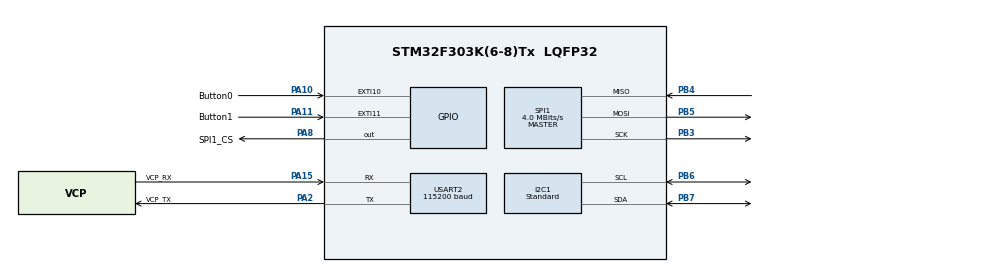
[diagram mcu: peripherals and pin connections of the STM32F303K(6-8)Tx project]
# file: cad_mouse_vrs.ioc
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Dma.I2C1_TX.1.Direction=DMA_MEMORY_TO_PERIPH
Dma.I2C1_TX.1.Instance=DMA1_Channel2
Dma.I2C1_TX.1.MemDataAlignment=DMA_MDATAALIGN_BYTE
Dma.I2C1_TX.1.MemInc=DMA_MINC_ENABLE
Dma.I2C1_TX.1.Mode=DMA_NORMAL
Dma.I2C1_TX.1.PeriphDataAlignment=DMA_PDATAALIGN_BYTE
Dma.I2C1_TX.1.PeriphInc=DMA_PINC_DISABLE
Dma.I2C1_TX.1.Priority=DMA_PRIORITY_LOW
Dma.Request0=USART2_RX
Dma.Request1=I2C1_TX
Dma.Request2=USART2_TX
Dma.USART2_RX.0.Direction=DMA_PERIPH_TO_MEMORY
Dma.USART2_RX.0.Instance=DMA1_Channel6
Dma.USART2_RX.0.MemDataAlignment=DMA_MDATAALIGN_BYTE
Dma.USART2_RX.0.MemInc=DMA_MINC_ENABLE
Dma.USART2_RX.0.Mode=DMA_CIRCULAR
Dma.USART2_RX.0.PeriphDataAlignment=DMA_PDATAALIGN_BYTE
Dma.USART2_RX.0.PeriphInc=DMA_PINC_DISABLE
Dma.USART2_RX.0.Priority=DMA_PRIORITY_LOW
Dma.USART2_TX.2.Direction=DMA_MEMORY_TO_PERIPH
Dma.USART2_TX.2.Instance=DMA1_Channel7
Dma.USART2_TX.2.MemDataAlignment=DMA_MDATAALIGN_BYTE
Dma.USART2_TX.2.MemInc=DMA_MINC_ENABLE
Dma.USART2_TX.2.Mode=DMA_NORMAL
Dma.USART2_TX.2.PeriphDataAlignment=DMA_PDATAALIGN_BYTE
Dma.USART2_TX.2.PeriphInc=DMA_PINC_DISABLE
Dma.USART2_TX.2.Priority=DMA_PRIORITY_LOW
I2C1.I2C_Speed_Mode=I2C_Standard
I2C1.Speed=100
Mcu.Family=STM32F3
Mcu.Name=STM32F303K(6-8)Tx
Mcu.Package=LQFP32
NVIC.DMA1_Channel2_IRQn=true\:0\:0\:false\:false\:true\:false\:true\:true
NVIC.DMA1_Channel6_IRQn=true\:0\:0\:false\:false\:true\:false\:true\:true
NVIC.DMA1_Channel7_IRQn=true\:0\:0\:false\:false\:true\:false\:true\:true
NVIC.EXTI15_10_IRQn=true\:0\:0\:false\:false\:true\:true\:true\:true
NVIC.I2C1_EV_IRQn=true\:0\:0\:false\:false\:true\:true\:true\:true
NVIC.PriorityGroup=NVIC_PRIORITYGROUP_4
NVIC.TIM1_BRK_TIM15_IRQn=true\:0\:0\:false\:false\:true\:true\:true\:true
PA10.GPIO_Label=Button0
PA10.GPIO_ModeDefaultEXTI=GPIO_MODE_IT_FALLING
PA10.GPIO_PuPd=GPIO_PULLUP
PA10.Signal=GPXTI10
PA11.GPIO_Label=Button1
PA11.GPIO_ModeDefaultEXTI=GPIO_MODE_IT_FALLING
PA11.GPIO_PuPd=GPIO_PULLUP
PA11.Signal=GPXTI11
PA13.GPIO_Label=SWDIO
PA13.Mode=Serial_Wire
PA13.Signal=SYS_JTMS-SWDIO
PA14.GPIO_Label=SWCLK
PA14.Mode=Serial_Wire
PA14.Signal=SYS_JTCK-SWCLK
PA15.GPIO_Label=VCP_RX
PA15.Mode=Asynchronous
PA15.Signal=USART2_RX
PA2.GPIO_Label=VCP_TX
PA2.Mode=Asynchronous
PA2.Signal=USART2_TX
PA8.GPIO_Label=SPI1_CS
PA8.GPIO_Speed=GPIO_SPEED_FREQ_HIGH
PA8.PinState=GPIO_PIN_SET
PA8.Signal=GPIO_Output
PB3.Mode=Full_Duplex_Master
PB3.Signal=SPI1_SCK
PB4.Mode=Full_Duplex_Master
PB4.Signal=SPI1_MISO
PB5.Mode=Full_Duplex_Master
PB5.Signal=SPI1_MOSI
PB6.Mode=I2C
PB6.Signal=I2C1_SCL
PB7.Mode=I2C
PB7.Signal=I2C1_SDA
PF0\ /\ OSC_IN.GPIO_Label=MCO
PF0\ /\ OSC_IN.Mode=HSE-External-Clock-Source
PF0\ /\ OSC_IN.Signal=RCC_OSC_IN
ProjectManager.HeapSize=0x200
ProjectManager.StackSize=0x400
ProjectManager.TargetToolchain=STM32CubeIDE
RCC.AHBFreq_Value=8000000
RCC.APB1Freq_Value=8000000
RCC.APB2Freq_Value=8000000
RCC.CortexFreq_Value=8000000
RCC.HSE_VALUE=8000000
RCC.HSI_VALUE=8000000
RCC.SYSCLKFreq_VALUE=8000000
SPI1.CalculateBaudRate=4.0 MBits/s
SPI1.DataSize=SPI_DATASIZE_8BIT
SPI1.Direction=SPI_DIRECTION_2LINES
SPI1.Mode=SPI_MODE_MASTER
SPI1.VirtualType=VM_MASTER
USART2.BaudRate=115200
USART2.VirtualMode-Asynchronous=VM_ASYNC
VP_TIM15_VS_ClockSourceINT.Mode=Internal
board=NUCLEO-F303K8

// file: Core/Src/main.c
/* USER CODE BEGIN Header */
/**
  ******************************************************************************
  * @file           : main.c
  * @brief          : Main program body
  ******************************************************************************
  * @attention
  *
  * Copyright (c) 2023 STMicroelectronics.
  * All rights reserved.
  *
  * This software is licensed under terms that can be found in the LICENSE file
  * in the root directory of this software component.
  * If no LICENSE file comes with this software, it is provided AS-IS.
  *
  ******************************************************************************
  */
/* USER CODE END Header */
#include "main.h"
#include "dma.h"
#include "i2c.h"
#include "spi.h"
#include "tim.h"
#include "usart.h"
#include "gpio.h"
#include "stm32f3xx_it.h"
#include "tlv493c/tlv493.h"
#include "W25Q32.h"
#include "movingAverageFIlter.h"
#include "mouseAxisPostProcessing.h"

/* USER CODE BEGIN PV */
bool change_in_conf = false;
/* USER CODE END PV */

void SystemClock_Config(void);

/* USER CODE BEGIN 0 */
void create_message(uint8_t *message, uint8_t *len, int16_t rot_x, int16_t rot_y, int16_t rot_z);
/* USER CODE END 0 */

int main(void)
{

  /* MCU Configuration--------------------------------------------------------*/

  /* Reset of all peripherals, Initializes the Flash interface and the Systick. */
  HAL_Init();

  /* USER CODE BEGIN Init */
  W25Q32_REGISTER_CALLBACKS(SPI_Receive,SPI_Send,GPIO_SPI_CS_LOW,GPIO_SPI_CS_HIGH,SPI_Delay);
  USART2_RegisterCallback(proccesDmaData);
  /* USER CODE END Init */

  /* Configure the system clock */
  SystemClock_Config();

  /* Initialize all configured peripherals */
  MX_GPIO_Init();
  MX_DMA_Init();
  MX_USART2_UART_Init();
  MX_I2C1_Init();
  MX_TIM15_Init();
  MX_SPI1_Init();
  /* USER CODE BEGIN 2 */
  W25Q32_RESET();
  W25Q32_GET_ID();

//  W25Q32_WRITE_ACTION_BUTTON_0(5);
//  W25Q32_WRITE_ACTION_BUTTON_1(2);
  // W25Q32_WRITE_DPI(1);
  (void)tlv493_init(i2c_master_read, i2c_master_write, HAL_Delay);
  initFilter(tlv493_getX, tlv493_getY, tlv493_getZ, tlv493_update_data, HAL_Delay);
  uint16_t dpi = 1;
	dpi = W25Q32_READ_DPI();
	if(dpi > 20 || dpi < 0)
		dpi = 1;
	dpi *= 50;
	dpi = (uint16_t)(1000/(1050-dpi)); //spytat sa tima ci bude problem nastavit sesitivitu 1-20
  /* USER CODE END 2 */

  /* Infinite loop */
  /* USER CODE BEGIN WHILE */

  uint8_t message[256];
  uint8_t length;
  MouseAxisInfo *mouseAxisInfo = 0;

  while (1)
  {
    /* USER CODE END WHILE */
	  //pride vzdy predosla hodnota a ty ju prepocitas napr predosla je 60deg dalsie 61 tak neotoci ju o 61 dlasich ale len o 1 ?
	  //akoze neviem ci to dava zmysel alebo pokiaal drzi do strany tak zeby to posuvalo ?
	  //idk mozme dat discusion
	  //vo funkci si zavolaj najprv tlv493_update_data(); a potom getX()...
//	  calc_rot(&rotX,&rotY,&rotZ,&zoom);
	  if(change_in_conf){
		    dpi = W25Q32_READ_DPI();
			if(dpi > 20 || dpi < 0)
				dpi = 1;
			dpi *= 50;
			dpi = (uint16_t)(1000/(1050-dpi));
			change_in_conf = false;
	  }
	  mouseAxisInfo = MA_filterData();

	  mouseAxisInfo = PP_ProcessData(mouseAxisInfo,dpi);

	  create_message(message, &length, mouseAxisInfo->x, mouseAxisInfo->y, mouseAxisInfo->z);
	  USART2_PutBuffer(message, length);
	  HAL_Delay(1);

  }
}

void SystemClock_Config(void)
{
  LL_FLASH_SetLatency(LL_FLASH_LATENCY_0);
  while(LL_FLASH_GetLatency()!= LL_FLASH_LATENCY_0)
  {
  }
  LL_RCC_HSI_Enable();

   /* Wait till HSI is ready */
  while(LL_RCC_HSI_IsReady() != 1)
  {

  }
  LL_RCC_HSI_SetCalibTrimming(16);
  LL_RCC_SetAHBPrescaler(LL_RCC_SYSCLK_DIV_1);
  LL_RCC_SetAPB1Prescaler(LL_RCC_APB1_DIV_1);
  LL_RCC_SetAPB2Prescaler(LL_RCC_APB2_DIV_1);
  LL_RCC_SetSysClkSource(LL_RCC_SYS_CLKSOURCE_HSI);

   /* Wait till System clock is ready */
  while(LL_RCC_GetSysClkSource() != LL_RCC_SYS_CLKSOURCE_STATUS_HSI)
  {

  }
  LL_SetSystemCoreClock(8000000);

   /* Update the time base */
  if (HAL_InitTick (TICK_INT_PRIORITY) != HAL_OK)
  {
    Error_Handler();
  }
  LL_RCC_SetI2CClockSource(LL_RCC_I2C1_CLKSOURCE_HSI);
}

/* USER CODE BEGIN 4 */
void proccesDmaData(const uint8_t* data, uint8_t len)
{
	//this function parses 3 numbers representing DPI, ACTION BUTTON 0 and ACTION BUTTON 1 and writes them to the flash
	uint16_t numbers[3];
	static uint8_t k=0;
	static uint8_t counter = 0;
	for (uint8_t i= 0;i<len;i++){
		if ((data[i]<='9')&&(data[i]>='0')){
			if (counter==0){
				numbers[k]=data[i]-'0'; //first digit
			}
			else{
				numbers[k]=numbers[k]*10+(data[i]-'0');
			}
			counter++;
		}
		else if (data[i]==','){
			k++;
			counter=0;
		}
		else if (data[i]=='$'){
			uint16_t a=W25Q32_READ_DPI();
			uint8_t b=W25Q32_READ_ACTION_BUTTON_0();
			uint8_t c=W25Q32_READ_ACTION_BUTTON_1();
			char tx_buffer[128];
			uint16_t len = sprintf(tx_buffer, "{\"dpi\":%d,\"button0\":%d,\"button1\":%d}\r\n",a,b,c);
			USART2_PutBuffer((uint8_t*)tx_buffer, len);
			k=0;
			break;
		}
	}
	if (k>=2){  //if there were 3 numbers sent
		change_in_conf = true;
		W25Q32_WRITE_DPI(numbers[0]);
		W25Q32_WRITE_ACTION_BUTTON_0(numbers[1]);
		W25Q32_WRITE_ACTION_BUTTON_1(numbers[2]);
		k=0;
	}

}
void create_message(uint8_t *message, uint8_t *len, int16_t rot_x, int16_t rot_y, int16_t rot_z){
	uint8_t but0 = 0, but1 = 0;
  /**
   * @brief button actions
   * 0 - nothing
   * 1 - HOME (F6)
   * 2 - Cancel (ESC)
   * 3 - Previous (F5)
   * 4 - Zoom ALL (HOME)
   *
  */

	if(get_button(0)){
		but0 = W25Q32_READ_ACTION_BUTTON_0();
		reset_button(0);
	}
	if(get_button(1)){
		but1 = W25Q32_READ_ACTION_BUTTON_1();
		reset_button(1);
	}

	///////////////////////////////////////////  ARDUINO DEBUG  ///////////////////////////////////////////
//	*len = (uint8_t)sprintf((char*)message,
//					"RotX:%d,RotY:%d,Zoom:%d,Btn1:%d,Btn2:%d\r\n",
//					rot_x,rot_y,rot_z,0,0);

	///////////////////////////////////////////  Production  ///////////////////////////////////////////
	*len = (uint8_t)sprintf((char*)message,
						"{\"RotX\":%d,\"RotY\":%d,\"Zoom\":%d,\"Button0\":%d,\"Button1\":%d}\r\n",
						rot_x,rot_y,rot_z,but0,but1);

}
/* USER CODE END 4 */

void Error_Handler(void)
{
  __disable_irq();
  while (1)
  {
  }
}
